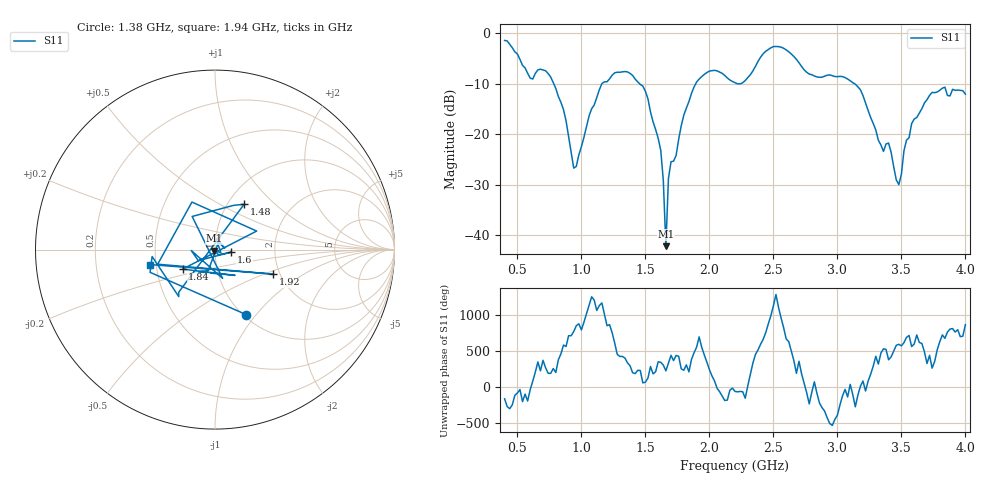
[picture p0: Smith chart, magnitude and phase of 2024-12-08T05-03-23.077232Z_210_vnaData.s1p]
!Created with skrf (http://scikit-rf.org).
# Hz S RI R 50.0
!freq ReS11 ImS11
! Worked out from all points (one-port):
!   181 points, 400 MHz to 4 GHz, reference 50 ohm
!   lowest |S11| = -42.1 dB at 1.66 GHz (marker M1), VSWR 1.02, Z = 49.4 - j0.549 ohm
!   |S11| at or under -10 dB: 784.3 MHz to 1.159 GHz (375 MHz wide, 38.6 % of centre); 1.455 GHz to 1.893 GHz (437.2 MHz wide, 26.1 % of centre); 3.135 GHz to end of sweep (the widest 3 of 4)
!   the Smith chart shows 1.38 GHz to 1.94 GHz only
!   S11 on the Smith chart (normalised r, x): 1.38 GHz: 1.03, -0.89; 1.48 GHz: 1.19, +0.66; 1.6 GHz: 1.20, -0.03; 1.84 GHz: 0.68, -0.15; 1.92 GHz: 1.85, -0.58; 1.94 GHz: 0.46, -0.09
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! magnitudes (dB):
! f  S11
! 400 MHz  -1.4
! 600 MHz  -8.9
! 740 MHz  -8.0
! 860 MHz  -15.1
! 940 MHz  -26.7
! 960 MHz  -26.3
! 1.16 GHz  -10.0
! 1.3 GHz  -7.7
! 1.38 GHz  -7.9
! 1.48 GHz  -10.5
! 1.6 GHz  -20.8
! 1.64 GHz  -29.2
! 1.66 GHz  -42.1
! 1.68 GHz  -28.7
! 1.76 GHz  -21.0
! 1.84 GHz  -13.5
! 1.92 GHz  -9.0
! 1.94 GHz  -8.6
! 2.2 GHz  -9.8
! 2.5 GHz  -2.6
! 2.66 GHz  -4.6
! 3.1 GHz  -9.4
! 3.36 GHz  -23.4
! 3.4 GHz  -21.7
! 3.48 GHz  -29.9
! 3.56 GHz  -20.7
! 3.74 GHz  -11.7
! 4 GHz  -12.1
